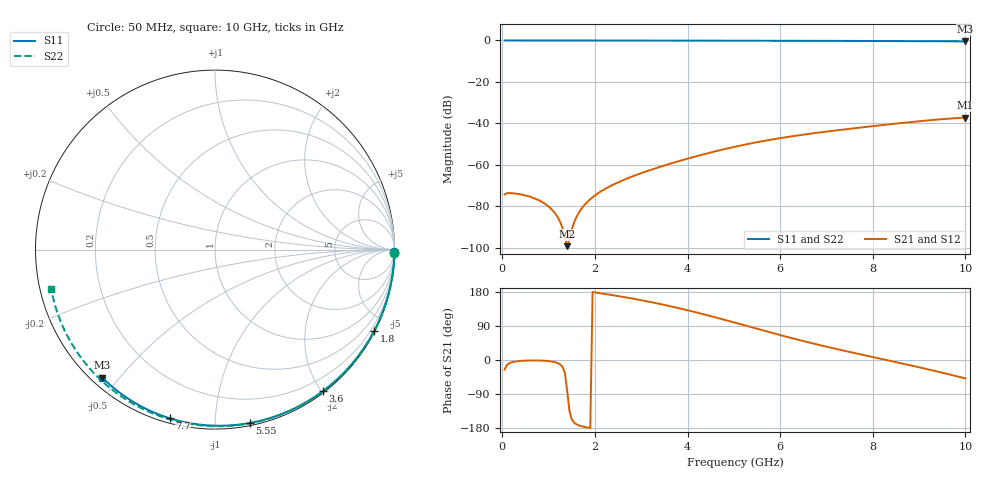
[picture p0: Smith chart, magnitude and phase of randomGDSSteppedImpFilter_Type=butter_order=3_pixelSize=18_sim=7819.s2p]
! freq	dB(S11)	phase(S11)	dB(S12)	phase(S12)
!  dB(S21)	phase(S21)	dB(S22)	phase(S22)
!S-par simulation data
#  GHz  S  DB  R 50
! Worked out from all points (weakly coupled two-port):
!   200 points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, 50 MHz to 10 GHz, reference 50 ohm
!   highest |S21| = -37.26 dB at 10 GHz (marker M1); lowest = -99.3 dB at 1.4 GHz (marker M2)
!   lowest |S11| = -0.4 dB at 10 GHz (marker M3), VSWR 39.29, Z = 1.53 - j22.6 ohm
!   |S11| at or under -10 dB: nowhere
!   |S22| runs from -0.6 to 0.0 dB; largest |S21 - S12| = 0
!   S11 on the Smith chart (normalised r, x): 50 MHz: open; 1.8 GHz: 0.04, -4.18; 3.6 GHz: 0.02, -2.02; 5.55 GHz: 0.02, -1.22; 7.7 GHz: 0.02, -0.77; 10 GHz: 0.03, -0.45
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0.05  -0.00 -0.8  -74.37 -25.2  -74.37 -25.2  -0.00 -1.0
0.1  -0.00 -1.5  -73.76 -13.0  -73.76 -13.0  -0.00 -1.9
0.2  -0.00 -3.0  -73.74 -6.1  -73.74 -6.1  -0.00 -3.9
0.5  -0.01 -7.6  -74.84 -1.6  -74.84 -1.6  -0.01 -9.6
0.75  -0.01 -11.3  -76.77 -1.1  -76.77 -1.1  -0.01 -14.4
1  -0.02 -15.1  -80.20 -2.9  -80.20 -2.9  -0.02 -19.2
1.4  -0.03 -21.0  -99.34 -80.2  -99.34 -80.2  -0.03 -26.7
1.75  -0.03 -26.2  -80.09 -175.9  -80.09 -175.9  -0.04 -33.2
1.8  -0.03 -26.9  -78.82 -177.3  -78.82 -177.3  -0.04 -34.1
2.05  -0.04 -30.6  -74.07 177.4  -74.07 177.4  -0.05 -38.7
2.4  -0.05 -35.6  -69.57 170.7  -69.57 170.7  -0.06 -45.1
2.85  -0.05 -42.1  -65.30 161.3  -65.30 161.3  -0.07 -53.2
3.4  -0.07 -49.9  -61.07 148.0  -61.07 148.0  -0.08 -62.9
3.6  -0.07 -52.6  -59.69 142.6  -59.69 142.6  -0.09 -66.4
4.3  -0.09 -62.2  -55.25 122.2  -55.25 122.2  -0.11 -78.2
5.05  -0.11 -72.2  -51.19 97.7  -51.19 97.7  -0.14 -90.5
5.55  -0.13 -78.6  -48.92 80.7  -48.92 80.7  -0.16 -98.5
6.7  -0.18 -93.0  -44.88 43.9  -44.88 43.9  -0.23 -116.3
7.7  -0.24 -105.0  -42.14 15.8  -42.14 15.8  -0.31 -131.5
8.35  -0.29 -112.6  -40.51 -1.4  -40.51 -1.4  -0.36 -141.3
9.2  -0.36 -122.3  -38.58 -24.8  -38.58 -24.8  -0.45 -154.2
10  -0.44 -131.3  -37.26 -48.6  -37.26 -48.6  -0.56 -166.6
